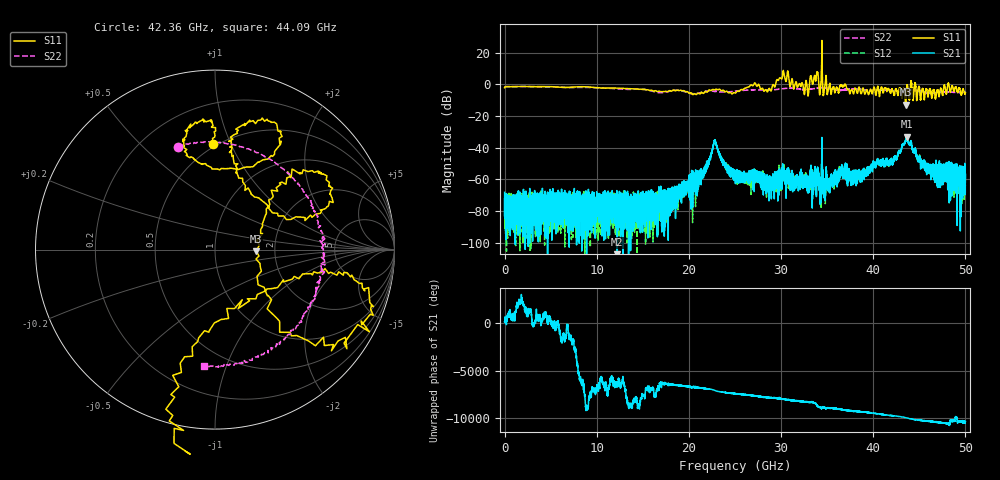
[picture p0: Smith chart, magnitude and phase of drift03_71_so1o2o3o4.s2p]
!Created with skrf (http://scikit-rf.org).
# Hz S RI R 50.0
!freq ReS11 ImS11 ReS21 ImS21 ReS12 ImS12 ReS22 ImS22
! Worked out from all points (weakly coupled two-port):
!   10000 points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, 5.3 MHz to 50 GHz, reference 50 ohm
!   highest |S21| = -33.10 dB at 43.66 GHz (marker M1); lowest = -114.2 dB at 12.23 GHz (marker M2)
!   lowest |S11| = -12.8 dB at 43.52 GHz (marker M3), VSWR 1.59, Z = 79.7 - j1.41 ohm
!   |S11| at or under -10 dB: 43.483 GHz to 43.55594 GHz (72.94 MHz wide, 0.168 % of centre); 44.32399 GHz to 44.32783 GHz (3.839 MHz wide, 0.00866 % of centre); 44.70779 GHz to 44.71169 GHz (3.903 MHz wide, 0.00873 % of centre)
!   |S22| runs from -5.9 to -1.3 dB; largest |S21 - S12| = 0.021
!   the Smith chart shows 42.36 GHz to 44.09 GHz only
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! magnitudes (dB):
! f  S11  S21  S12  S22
! 5.3 MHz  -2.1  -68.2  -74.7  -2.1
! 825.3 MHz  -1.4  -79.1  -88.0  -1.5
! 8.34 GHz  -1.5  -71.8  -88.6  -1.9
! 12.23 GHz  -2.4  -114.2  -77.1  -2.7
! 16.67 GHz  -4.4  -69.5  -70.5  -5.2
! 21.08 GHz  -5.7  -62.8  -60.8  -5.4
! 22.81 GHz  -3.5  -35.5  -35.6  -4.5
! 25.01 GHz  -5.5  -54.2  -58.2  -4.2
! 27.02 GHz  -0.3  -55.5  -57.5  -3.4
! 28.72 GHz  -2.5  -61.7  -61.9  -3.6
! 30.14 GHz  4.5  -53.8  -55.1  -2.8
! 32.74 GHz  2.1  -61.9  -59.3  -3.3
! 33.34 GHz  2.7  -59.2  -57.1  -2.9
! 33.82 GHz  4.0  -61.2  -64.3  -2.6
! 34.95 GHz  -2.5  -62.0  -60.1  -2.4
! 36.47 GHz  -0.5  -55.7  -54.0  -3.8
! 38.14 GHz  -3.3  -56.6  -59.6  -2.9
! 41.67 GHz  -2.8  -49.6  -50.7  -3.7
! 43.52 GHz  -12.8  -35.0  -35.4  -4.3
! 43.66 GHz  -1.2  -33.1  -33.8  -4.0
! 45.81 GHz  -3.3  -51.9  -52.6  -5.3
! 50 GHz  -5.2  -59.0  -61.1  -5.0
